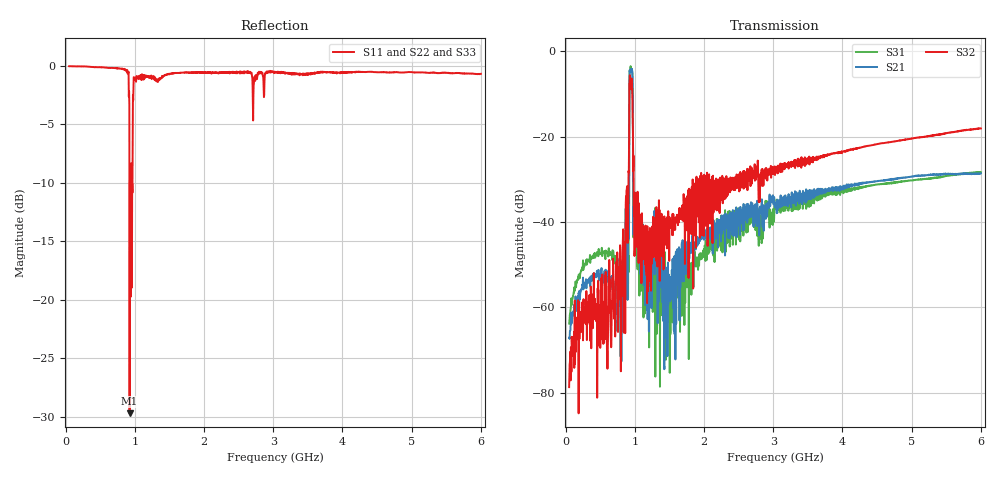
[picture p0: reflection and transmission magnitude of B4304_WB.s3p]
! Matrix data file written by TouchstoneData, EPCOS AG
! FILENAME: "B4304_Pcb01_WB.s3p_newformat"
! COMMENT: "(B4304_Pcb01_WB.s3p) Epcos AG 3/2/2011 3:58:"
! INFO: nport=3, nfreq=1601
! DATE: "Mon Apr 18 15:57:59 2011"
! USER: "Sergey Rostovtsev"
! port | pin | signal
!  1  |  1  |  in
!  2  |  3  |  out
!  3  |  4  |  out
# MHZ S MA R 50
! freq  magS11 angS11  magS12 angS12  magS13 angS13  ...
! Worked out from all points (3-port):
!   1601 points, 50 MHz to 6 GHz, reference 50 ohm
!   strongest paths, dB at 50 MHz, 1.538 GHz, 3.025 GHz, 4.513 GHz, 6 GHz:
!     S32: -78.7, -43.0, -29.0, -21.7, -18.1
!     S21: -67.1, -53.8, -36.5, -30.4, -28.6
!     S31: -63.8, -59.2, -36.3, -31.2, -28.3
!   lowest |S11| = -29.7 dB at 923.9 MHz (marker M1), VSWR 1.07, Z = 49 + j3.09 ohm
!   |S11| at or under -10 dB: 921.1 MHz to 928.1 MHz (6.991 MHz wide, 0.756 % of centre); 931.9 MHz to 943.9 MHz (11.96 MHz wide, 1.28 % of centre); 950.4 MHz to 965.7 MHz (15.33 MHz wide, 1.6 % of centre)
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50  0.9956 -7.6  0.0003355 74.9  0.0006498 82.8
    0.0004403 76.9  0.9972 -3.8  0.0001847 136.1
    0.0006434 88.7  0.000116 61.9  0.9979 -3.7
823.5  0.9719 -109.6  0.002281 64.2  0.002783 -40.0
       0.002258 63.5  0.9751 -66.9  0.004884 -109.7
       0.00277 -39.9  0.004864 -109.9  0.9759 -66.8
886.7188  0.961 -131.1  0.00363 -126.5  0.00361 135.5
          0.003629 -126.5  0.9295 -84.8  0.02626 -156.7
          0.003592 134.9  0.02616 -156.8  0.95 -84.4
923.9062  0.03273 106.1  0.5918 63.0  0.5981 -114.7
          0.593 63.0  0.3825 135.6  0.449 135.5
          0.5954 -114.8  0.4468 135.3  0.3796 140.2
949.9375  0.3407 -127.8  0.5871 173.2  0.6066 -4.4
          0.5874 173.2  0.5135 -111.7  0.4142 -155.0
          0.6039 -4.5  0.4121 -155.1  0.5016 -106.4
1009.438  0.8834 -80.8  0.008864 18.7  0.005141 -144.4
          0.008483 18.7  0.9211 -47.3  0.01559 175.9
          0.005044 -144.8  0.01597 175.9  0.9244 -47.5
1161.906  0.903 -106.1  0.00301 5.1  0.002334 29.4
          0.002872 6.2  0.9192 -65.6  0.002622 -156.1
          0.002298 28.7  0.002676 -155.9  0.9068 -65.1
1489.156  0.9215 -121.6  0.002558 108.1  0.0007305 -94.7
          0.002427 107.8  0.9277 -81.8  0.01015 -144.4
          0.0006943 -95.4  0.01042 -144.5  0.9218 -81.9
3025  0.9354 -158.7  0.015 117.0  0.01539 126.2
      0.01504 117.1  0.9102 -125.3  0.03557 130.3
      0.01531 126.1  0.03542 130.3  0.906 -128.6
6000  0.9241 165.1  0.0371 71.2  0.03848 72.5
      0.03706 71.2  0.9054 177.3  0.1249 88.6
      0.0383 72.4  0.1245 88.6  0.9126 -176.8
